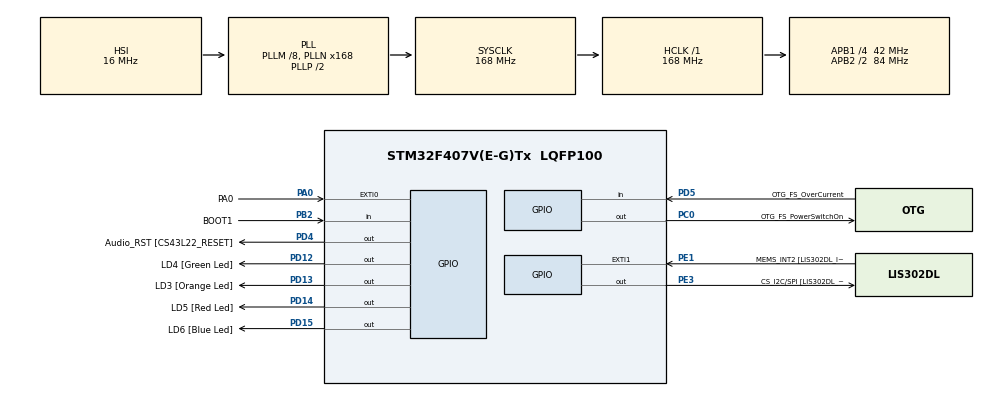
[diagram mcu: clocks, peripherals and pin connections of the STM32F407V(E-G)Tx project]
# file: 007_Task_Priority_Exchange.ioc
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Mcu.Family=STM32F4
Mcu.Name=STM32F407V(E-G)Tx
Mcu.Package=LQFP100
NVIC.EXTI0_IRQn=true\:6\:0\:true\:false\:true\:true\:true\:true
NVIC.PriorityGroup=NVIC_PRIORITYGROUP_4
NVIC.TIM6_DAC_IRQn=true\:15\:0\:false\:false\:true\:false\:true\:true
NVIC.TimeBase=TIM6_DAC_IRQn
NVIC.TimeBaseIP=TIM6
PA0-WKUP.GPIO_Label=PA0
PA0-WKUP.GPIO_ModeDefaultEXTI=GPIO_MODE_IT_FALLING
PA0-WKUP.Signal=GPXTI0
PA10.GPIO_Label=OTG_FS_ID
PA10.GPIO_Mode=GPIO_MODE_AF_PP
PA10.GPIO_PuPd=GPIO_NOPULL
PA10.GPIO_Speed=GPIO_SPEED_FREQ_LOW
PA10.Signal=USB_OTG_FS_ID
PA11.GPIO_Label=OTG_FS_DM
PA11.GPIO_Mode=GPIO_MODE_AF_PP
PA11.GPIO_PuPd=GPIO_NOPULL
PA11.GPIO_Speed=GPIO_SPEED_FREQ_LOW
PA11.Signal=USB_OTG_FS_DM
PA12.GPIO_Label=OTG_FS_DP
PA12.GPIO_Mode=GPIO_MODE_AF_PP
PA12.GPIO_PuPd=GPIO_NOPULL
PA12.GPIO_Speed=GPIO_SPEED_FREQ_LOW
PA12.Signal=USB_OTG_FS_DP
PA13.GPIO_Label=SWDIO
PA13.Signal=SYS_JTMS-SWDIO
PA14.GPIO_Label=SWCLK
PA14.Signal=SYS_JTCK-SWCLK
PA4.GPIO_Label=I2S3_WS [CS43L22_LRCK]
PA4.GPIO_Mode=GPIO_MODE_AF_PP
PA4.GPIO_PuPd=GPIO_NOPULL
PA4.GPIO_Speed=GPIO_SPEED_FREQ_LOW
PA4.Signal=I2S3_WS
PA5.GPIO_Label=SPI1_SCK [LIS302DL_SCL/SPC]
PA5.GPIO_Mode=GPIO_MODE_AF_PP
PA5.GPIO_PuPd=GPIO_NOPULL
PA5.GPIO_Speed=GPIO_SPEED_FREQ_LOW
PA5.Signal=SPI1_SCK
PA6.GPIO_Label=SPI1_MISO [LIS302DL_SDO]
PA6.GPIO_Mode=GPIO_MODE_AF_PP
PA6.GPIO_PuPd=GPIO_NOPULL
PA6.GPIO_Speed=GPIO_SPEED_FREQ_LOW
PA6.Signal=SPI1_MISO
PA7.GPIO_Label=SPI1_MOSI [LIS302DL_SDA/SDI/SDO]
PA7.GPIO_Mode=GPIO_MODE_AF_PP
PA7.GPIO_PuPd=GPIO_NOPULL
PA7.GPIO_Speed=GPIO_SPEED_FREQ_LOW
PA7.Signal=SPI1_MOSI
PA9.GPIO_Label=VBUS_FS
PA9.GPIO_Mode=GPIO_MODE_INPUT
PA9.GPIO_PuPd=GPIO_NOPULL
PA9.Signal=USB_OTG_FS_VBUS
PB10.GPIO_Label=CLK_IN [MP45DT02_CLK]
PB10.GPIO_Mode=GPIO_MODE_AF_PP
PB10.GPIO_PuPd=GPIO_NOPULL
PB10.GPIO_Speed=GPIO_SPEED_FREQ_LOW
PB10.Signal=I2S2_CK
PB2.GPIO_Label=BOOT1
PB2.GPIO_Mode=GPIO_MODE_INPUT
PB2.GPIO_PuPd=GPIO_NOPULL
PB2.Signal=GPIO_Input
PB3.GPIO_Label=SWO
PB3.Signal=SYS_JTDO-SWO
PB6.GPIO_Label=Audio_SCL [CS43L22_SCL]
PB6.GPIO_Mode=GPIO_MODE_AF_OD
PB6.GPIO_PuPd=GPIO_NOPULL
PB6.GPIO_Speed=GPIO_SPEED_FREQ_LOW
PB6.Signal=I2C1_SCL
PB9.GPIO_Label=Audio_SDA [CS43L22_SDA]
PB9.GPIO_Mode=GPIO_MODE_AF_OD
PB9.GPIO_PuPd=GPIO_NOPULL
PB9.GPIO_Speed=GPIO_SPEED_FREQ_LOW
PB9.Signal=I2C1_SDA
PC0.GPIO_Label=OTG_FS_PowerSwitchOn
PC0.GPIO_PuPd=GPIO_NOPULL
PC0.GPIO_Speed=GPIO_SPEED_FREQ_LOW
PC0.PinState=GPIO_PIN_SET
PC0.Signal=GPIO_Output
PC10.GPIO_Label=I2S3_SCK [CS43L22_SCLK]
PC10.GPIO_Mode=GPIO_MODE_AF_PP
PC10.GPIO_PuPd=GPIO_NOPULL
PC10.GPIO_Speed=GPIO_SPEED_FREQ_LOW
PC10.Signal=I2S3_CK
PC12.GPIO_Label=I2S3_SD [CS43L22_SDIN]
PC12.GPIO_Mode=GPIO_MODE_AF_PP
PC12.GPIO_PuPd=GPIO_NOPULL
PC12.GPIO_Speed=GPIO_SPEED_FREQ_LOW
PC12.Signal=I2S3_SD
PC14-OSC32_IN.GPIO_Label=PC14-OSC32_IN
PC14-OSC32_IN.Signal=RCC_OSC32_IN
PC15-OSC32_OUT.GPIO_Label=PC15-OSC32_OUT
PC15-OSC32_OUT.Signal=RCC_OSC32_OUT
PC3.GPIO_Label=PDM_OUT [MP45DT02_DOUT]
PC3.GPIO_Mode=GPIO_MODE_AF_PP
PC3.GPIO_PuPd=GPIO_NOPULL
PC3.GPIO_Speed=GPIO_SPEED_FREQ_LOW
PC3.Signal=I2S2_SD
PC7.GPIO_Label=I2S3_MCK [CS43L22_MCLK]
PC7.GPIO_Mode=GPIO_MODE_AF_PP
PC7.GPIO_PuPd=GPIO_NOPULL
PC7.GPIO_Speed=GPIO_SPEED_FREQ_LOW
PC7.Signal=I2S3_MCK
PD12.GPIO_Label=LD4 [Green Led]
PD12.GPIO_PuPd=GPIO_NOPULL
PD12.GPIO_Speed=GPIO_SPEED_FREQ_LOW
PD12.Signal=GPIO_Output
PD13.GPIO_Label=LD3 [Orange Led]
PD13.GPIO_PuPd=GPIO_NOPULL
PD13.GPIO_Speed=GPIO_SPEED_FREQ_LOW
PD13.Signal=GPIO_Output
PD14.GPIO_Label=LD5 [Red Led]
PD14.GPIO_PuPd=GPIO_NOPULL
PD14.GPIO_Speed=GPIO_SPEED_FREQ_LOW
PD14.Signal=GPIO_Output
PD15.GPIO_Label=LD6 [Blue Led]
PD15.GPIO_PuPd=GPIO_NOPULL
PD15.GPIO_Speed=GPIO_SPEED_FREQ_LOW
PD15.Signal=GPIO_Output
PD4.GPIO_Label=Audio_RST [CS43L22_RESET]
PD4.GPIO_PuPd=GPIO_NOPULL
PD4.GPIO_Speed=GPIO_SPEED_FREQ_LOW
PD4.Signal=GPIO_Output
PD5.GPIO_Label=OTG_FS_OverCurrent
PD5.GPIO_Mode=GPIO_MODE_INPUT
PD5.GPIO_PuPd=GPIO_NOPULL
PD5.Signal=GPIO_Input
PE1.GPIO_Label=MEMS_INT2 [LIS302DL_INT2]
PE1.GPIO_ModeDefaultEXTI=GPIO_MODE_EVT_RISING
PE1.GPIO_PuPd=GPIO_NOPULL
PE1.Signal=GPXTI1
PE3.GPIO_Label=CS_I2C/SPI [LIS302DL_CS_I2C/SPI]
PE3.GPIO_PuPd=GPIO_NOPULL
PE3.GPIO_Speed=GPIO_SPEED_FREQ_LOW
PE3.Signal=GPIO_Output
PH0-OSC_IN.GPIO_Label=PH0-OSC_IN
PH0-OSC_IN.Signal=RCC_OSC_IN
PH1-OSC_OUT.GPIO_Label=PH1-OSC_OUT
PH1-OSC_OUT.Signal=RCC_OSC_OUT
ProjectManager.HeapSize=0x200
ProjectManager.StackSize=0x400
ProjectManager.TargetToolchain=STM32CubeIDE
RCC.48MHZClocksFreq_Value=48000000
RCC.AHBFreq_Value=168000000
RCC.APB1CLKDivider=RCC_HCLK_DIV4
RCC.APB1Freq_Value=42000000
RCC.APB1TimFreq_Value=84000000
RCC.APB2CLKDivider=RCC_HCLK_DIV2
RCC.APB2Freq_Value=84000000
RCC.APB2TimFreq_Value=168000000
RCC.CortexFreq_Value=168000000
RCC.HCLKFreq_Value=168000000
RCC.HSE_VALUE=8000000
RCC.HSI_VALUE=16000000
RCC.LSE_VALUE=32768
RCC.PLLM=8
RCC.PLLN=168
RCC.PLLQ=7
RCC.SYSCLKFreq_VALUE=168000000
RCC.SYSCLKSource=RCC_SYSCLKSOURCE_PLLCLK
RCC.VCOOutputFreq_Value=336000000
VP_SYS_VS_tim6.Mode=TIM6
board=STM32F407G-DISC1

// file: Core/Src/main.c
/* USER CODE BEGIN Header */
/**
  ******************************************************************************
  * @file           : main.c
  * @brief          : Main program body
  ******************************************************************************
  * @attention
  *
  * Copyright (c) 2024 STMicroelectronics.
  * All rights reserved.
  *
  * This software is licensed under terms that can be found in the LICENSE file
  * in the root directory of this software component.
  * If no LICENSE file comes with this software, it is provided AS-IS.
  *
  ******************************************************************************
  */
/* USER CODE END Header */
#include "main.h"

/* USER CODE BEGIN Includes */
#include "FreeRTOS.h"
#include "task.h"
/* USER CODE END Includes */

/* USER CODE BEGIN PV */
#define DWT_CTRL	(*(volatile uint32_t*)0xE0001000)
/* USER CODE END PV */

void SystemClock_Config(void);
static void MX_GPIO_Init(void);

/* USER CODE BEGIN 0 */
extern void SEGGER_UART_init(uint32_t);

static void green_task_handler(void* parameters);
static void red_task_handler(void* parameters);

void button_interrupt_handler(void);

TaskHandle_t green_task_handle;
TaskHandle_t red_task_handle;

void switch_priority(void);

uint8_t swp = 0;
/* USER CODE END 0 */

int main(void)
{

  /* USER CODE BEGIN 1 */
	BaseType_t status;
  /* USER CODE END 1 */

  /* MCU Configuration--------------------------------------------------------*/

  /* Reset of all peripherals, Initializes the Flash interface and the Systick. */
  HAL_Init();

  /* Configure the system clock */
  SystemClock_Config();

  /* Initialize all configured peripherals */
  MX_GPIO_Init();
  /* USER CODE BEGIN 2 */
  SEGGER_UART_init(250000);

  //Enable the CYCCNT counter
  DWT_CTRL |= (1 << 0);

  SEGGER_SYSVIEW_Conf();

  status = xTaskCreate(red_task_handler, "LED_red_task", 200, NULL, 2, &red_task_handle);
  configASSERT(status == pdPASS);

  status = xTaskCreate(green_task_handler, "LED_green_task", 200, NULL, 3, &green_task_handle);
  configASSERT(status == pdPASS);

  vTaskStartScheduler();
  /* USER CODE END 2 */

  /* Infinite loop */
  while (1)
  {

  }
}

void SystemClock_Config(void)
{
  RCC_OscInitTypeDef RCC_OscInitStruct = {0};
  RCC_ClkInitTypeDef RCC_ClkInitStruct = {0};

  /** Configure the main internal regulator output voltage
  */
  __HAL_RCC_PWR_CLK_ENABLE();
  __HAL_PWR_VOLTAGESCALING_CONFIG(PWR_REGULATOR_VOLTAGE_SCALE1);

  /** Initializes the RCC Oscillators according to the specified parameters
  * in the RCC_OscInitTypeDef structure.
  */
  RCC_OscInitStruct.OscillatorType = RCC_OSCILLATORTYPE_HSI;
  RCC_OscInitStruct.HSIState = RCC_HSI_ON;
  RCC_OscInitStruct.HSICalibrationValue = RCC_HSICALIBRATION_DEFAULT;
  RCC_OscInitStruct.PLL.PLLState = RCC_PLL_ON;
  RCC_OscInitStruct.PLL.PLLSource = RCC_PLLSOURCE_HSI;
  RCC_OscInitStruct.PLL.PLLM = 8;
  RCC_OscInitStruct.PLL.PLLN = 168;
  RCC_OscInitStruct.PLL.PLLP = RCC_PLLP_DIV2;
  RCC_OscInitStruct.PLL.PLLQ = 7;
  if (HAL_RCC_OscConfig(&RCC_OscInitStruct) != HAL_OK)
  {
    Error_Handler();
  }

  /** Initializes the CPU, AHB and APB buses clocks
  */
  RCC_ClkInitStruct.ClockType = RCC_CLOCKTYPE_HCLK|RCC_CLOCKTYPE_SYSCLK
                              |RCC_CLOCKTYPE_PCLK1|RCC_CLOCKTYPE_PCLK2;
  RCC_ClkInitStruct.SYSCLKSource = RCC_SYSCLKSOURCE_PLLCLK;
  RCC_ClkInitStruct.AHBCLKDivider = RCC_SYSCLK_DIV1;
  RCC_ClkInitStruct.APB1CLKDivider = RCC_HCLK_DIV4;
  RCC_ClkInitStruct.APB2CLKDivider = RCC_HCLK_DIV2;

  if (HAL_RCC_ClockConfig(&RCC_ClkInitStruct, FLASH_LATENCY_5) != HAL_OK)
  {
    Error_Handler();
  }
}

static void MX_GPIO_Init(void)
{
  GPIO_InitTypeDef GPIO_InitStruct = {0};

  /* GPIO Ports Clock Enable */
  __HAL_RCC_GPIOE_CLK_ENABLE();
  __HAL_RCC_GPIOC_CLK_ENABLE();
  __HAL_RCC_GPIOH_CLK_ENABLE();
  __HAL_RCC_GPIOA_CLK_ENABLE();
  __HAL_RCC_GPIOB_CLK_ENABLE();
  __HAL_RCC_GPIOD_CLK_ENABLE();

  /*Configure GPIO pin Output Level */
  HAL_GPIO_WritePin(CS_I2C_SPI_GPIO_Port, CS_I2C_SPI_Pin, GPIO_PIN_RESET);

  /*Configure GPIO pin Output Level */
  HAL_GPIO_WritePin(OTG_FS_PowerSwitchOn_GPIO_Port, OTG_FS_PowerSwitchOn_Pin, GPIO_PIN_SET);

  /*Configure GPIO pin Output Level */
  HAL_GPIO_WritePin(GPIOD, LD4_Pin|LD3_Pin|LD5_Pin|LD6_Pin
                          |Audio_RST_Pin, GPIO_PIN_RESET);

  /*Configure GPIO pin : CS_I2C_SPI_Pin */
  GPIO_InitStruct.Pin = CS_I2C_SPI_Pin;
  GPIO_InitStruct.Mode = GPIO_MODE_OUTPUT_PP;
  GPIO_InitStruct.Pull = GPIO_NOPULL;
  GPIO_InitStruct.Speed = GPIO_SPEED_FREQ_LOW;
  HAL_GPIO_Init(CS_I2C_SPI_GPIO_Port, &GPIO_InitStruct);

  /*Configure GPIO pin : OTG_FS_PowerSwitchOn_Pin */
  GPIO_InitStruct.Pin = OTG_FS_PowerSwitchOn_Pin;
  GPIO_InitStruct.Mode = GPIO_MODE_OUTPUT_PP;
  GPIO_InitStruct.Pull = GPIO_NOPULL;
  GPIO_InitStruct.Speed = GPIO_SPEED_FREQ_LOW;
  HAL_GPIO_Init(OTG_FS_PowerSwitchOn_GPIO_Port, &GPIO_InitStruct);

  /*Configure GPIO pin : PDM_OUT_Pin */
  GPIO_InitStruct.Pin = PDM_OUT_Pin;
  GPIO_InitStruct.Mode = GPIO_MODE_AF_PP;
  GPIO_InitStruct.Pull = GPIO_NOPULL;
  GPIO_InitStruct.Speed = GPIO_SPEED_FREQ_LOW;
  GPIO_InitStruct.Alternate = GPIO_AF5_SPI2;
  HAL_GPIO_Init(PDM_OUT_GPIO_Port, &GPIO_InitStruct);

  /*Configure GPIO pin : PA0_Pin */
  GPIO_InitStruct.Pin = PA0_Pin;
  GPIO_InitStruct.Mode = GPIO_MODE_IT_FALLING;
  GPIO_InitStruct.Pull = GPIO_NOPULL;
  HAL_GPIO_Init(PA0_GPIO_Port, &GPIO_InitStruct);

  /*Configure GPIO pin : I2S3_WS_Pin */
  GPIO_InitStruct.Pin = I2S3_WS_Pin;
  GPIO_InitStruct.Mode = GPIO_MODE_AF_PP;
  GPIO_InitStruct.Pull = GPIO_NOPULL;
  GPIO_InitStruct.Speed = GPIO_SPEED_FREQ_LOW;
  GPIO_InitStruct.Alternate = GPIO_AF6_SPI3;
  HAL_GPIO_Init(I2S3_WS_GPIO_Port, &GPIO_InitStruct);

  /*Configure GPIO pins : SPI1_SCK_Pin SPI1_MISO_Pin SPI1_MOSI_Pin */
  GPIO_InitStruct.Pin = SPI1_SCK_Pin|SPI1_MISO_Pin|SPI1_MOSI_Pin;
  GPIO_InitStruct.Mode = GPIO_MODE_AF_PP;
  GPIO_InitStruct.Pull = GPIO_NOPULL;
  GPIO_InitStruct.Speed = GPIO_SPEED_FREQ_LOW;
  GPIO_InitStruct.Alternate = GPIO_AF5_SPI1;
  HAL_GPIO_Init(GPIOA, &GPIO_InitStruct);

  /*Configure GPIO pin : BOOT1_Pin */
  GPIO_InitStruct.Pin = BOOT1_Pin;
  GPIO_InitStruct.Mode = GPIO_MODE_INPUT;
  GPIO_InitStruct.Pull = GPIO_NOPULL;
  HAL_GPIO_Init(BOOT1_GPIO_Port, &GPIO_InitStruct);

  /*Configure GPIO pin : CLK_IN_Pin */
  GPIO_InitStruct.Pin = CLK_IN_Pin;
  GPIO_InitStruct.Mode = GPIO_MODE_AF_PP;
  GPIO_InitStruct.Pull = GPIO_NOPULL;
  GPIO_InitStruct.Speed = GPIO_SPEED_FREQ_LOW;
  GPIO_InitStruct.Alternate = GPIO_AF5_SPI2;
  HAL_GPIO_Init(CLK_IN_GPIO_Port, &GPIO_InitStruct);

  /*Configure GPIO pins : LD4_Pin LD3_Pin LD5_Pin LD6_Pin
                           Audio_RST_Pin */
  GPIO_InitStruct.Pin = LD4_Pin|LD3_Pin|LD5_Pin|LD6_Pin
                          |Audio_RST_Pin;
  GPIO_InitStruct.Mode = GPIO_MODE_OUTPUT_PP;
  GPIO_InitStruct.Pull = GPIO_NOPULL;
  GPIO_InitStruct.Speed = GPIO_SPEED_FREQ_LOW;
  HAL_GPIO_Init(GPIOD, &GPIO_InitStruct);

  /*Configure GPIO pins : I2S3_MCK_Pin I2S3_SCK_Pin I2S3_SD_Pin */
  GPIO_InitStruct.Pin = I2S3_MCK_Pin|I2S3_SCK_Pin|I2S3_SD_Pin;
  GPIO_InitStruct.Mode = GPIO_MODE_AF_PP;
  GPIO_InitStruct.Pull = GPIO_NOPULL;
  GPIO_InitStruct.Speed = GPIO_SPEED_FREQ_LOW;
  GPIO_InitStruct.Alternate = GPIO_AF6_SPI3;
  HAL_GPIO_Init(GPIOC, &GPIO_InitStruct);

  /*Configure GPIO pin : VBUS_FS_Pin */
  GPIO_InitStruct.Pin = VBUS_FS_Pin;
  GPIO_InitStruct.Mode = GPIO_MODE_INPUT;
  GPIO_InitStruct.Pull = GPIO_NOPULL;
  HAL_GPIO_Init(VBUS_FS_GPIO_Port, &GPIO_InitStruct);

  /*Configure GPIO pins : OTG_FS_ID_Pin OTG_FS_DM_Pin OTG_FS_DP_Pin */
  GPIO_InitStruct.Pin = OTG_FS_ID_Pin|OTG_FS_DM_Pin|OTG_FS_DP_Pin;
  GPIO_InitStruct.Mode = GPIO_MODE_AF_PP;
  GPIO_InitStruct.Pull = GPIO_NOPULL;
  GPIO_InitStruct.Speed = GPIO_SPEED_FREQ_LOW;
  GPIO_InitStruct.Alternate = GPIO_AF10_OTG_FS;
  HAL_GPIO_Init(GPIOA, &GPIO_InitStruct);

  /*Configure GPIO pin : OTG_FS_OverCurrent_Pin */
  GPIO_InitStruct.Pin = OTG_FS_OverCurrent_Pin;
  GPIO_InitStruct.Mode = GPIO_MODE_INPUT;
  GPIO_InitStruct.Pull = GPIO_NOPULL;
  HAL_GPIO_Init(OTG_FS_OverCurrent_GPIO_Port, &GPIO_InitStruct);

  /*Configure GPIO pins : Audio_SCL_Pin Audio_SDA_Pin */
  GPIO_InitStruct.Pin = Audio_SCL_Pin|Audio_SDA_Pin;
  GPIO_InitStruct.Mode = GPIO_MODE_AF_OD;
  GPIO_InitStruct.Pull = GPIO_NOPULL;
  GPIO_InitStruct.Speed = GPIO_SPEED_FREQ_LOW;
  GPIO_InitStruct.Alternate = GPIO_AF4_I2C1;
  HAL_GPIO_Init(GPIOB, &GPIO_InitStruct);

  /*Configure GPIO pin : MEMS_INT2_Pin */
  GPIO_InitStruct.Pin = MEMS_INT2_Pin;
  GPIO_InitStruct.Mode = GPIO_MODE_EVT_RISING;
  GPIO_InitStruct.Pull = GPIO_NOPULL;
  HAL_GPIO_Init(MEMS_INT2_GPIO_Port, &GPIO_InitStruct);

  /* EXTI interrupt init*/
  HAL_NVIC_SetPriority(EXTI0_IRQn, 6, 0);
  HAL_NVIC_EnableIRQ(EXTI0_IRQn);

}

/* USER CODE BEGIN 4 */
static void green_task_handler(void* parameters)
{
	while(1)
	{
		SEGGER_SYSVIEW_PrintfTarget("Toggling Green LED");
		HAL_GPIO_TogglePin(GPIOD, LED_GREEN_PIN);
		HAL_Delay(1000);
		switch_priority();
	}
}
static void red_task_handler(void* parameters)
{
	while(1)
	{
		SEGGER_SYSVIEW_PrintfTarget("Toggling Red LED");
		HAL_GPIO_TogglePin(GPIOD, LED_RED_PIN);
		HAL_Delay(100);
		switch_priority();
	}
}

void switch_priority(void)
{
	xTaskHandle curr;

	if(swp == 1)
	{
		portENTER_CRITICAL();
		swp = 0;
		portEXIT_CRITICAL();

		uint8_t green_priority;
		uint8_t red_priority;

		SEGGER_SYSVIEW_PrintfTarget("Exchange priority");

		green_priority = uxTaskPriorityGet(green_task_handle);
		red_priority = uxTaskPriorityGet(red_task_handle);

		curr = xTaskGetCurrentTaskHandle();

		if(curr == green_task_handle)
		{
			vTaskPrioritySet(green_task_handle, red_priority);
			vTaskPrioritySet(red_task_handle, green_priority);
		}else
		{
			vTaskPrioritySet(red_task_handle, green_priority);
			vTaskPrioritySet(green_task_handle, red_priority);

		}

	}
}

void button_interrupt_handler(void)
{
	traceISR_ENTER();

	swp = 1;

	traceISR_EXIT();
}
/* USER CODE END 4 */

void HAL_TIM_PeriodElapsedCallback(TIM_HandleTypeDef *htim)
{
  if (htim->Instance == TIM6) {
    HAL_IncTick();
  }
}

void Error_Handler(void)
{
  __disable_irq();
  while (1)
  {
  }
}
